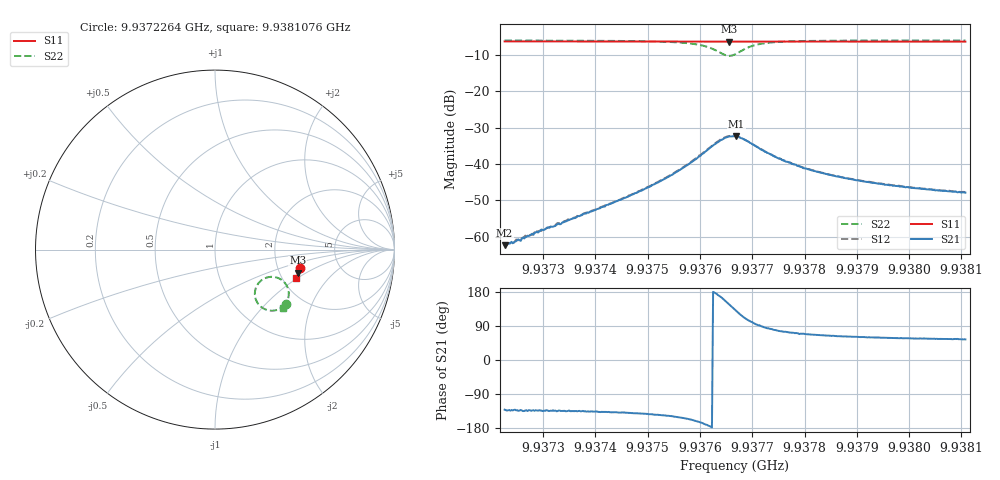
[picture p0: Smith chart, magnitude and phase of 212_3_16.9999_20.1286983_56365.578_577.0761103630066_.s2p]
#  HZ  S  RI  R  50.00
! Rohde & Schwarz Vector Network Analyzer
! Rohde-Schwarz,ZNB20-2Port,1311601062101988,3.16
! Created: UTC 3/20/2024, 11:01:37 PM
! freq[Hz]  re:S11  im:S11  re:S21  im:S21  re:S12  im:S12  re:S22  im:S22
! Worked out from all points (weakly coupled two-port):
!   401 points, 9.9372264 GHz to 9.9381076 GHz, reference 50 ohm
!   highest |S21| = -32.39 dB at 9.9376692 GHz (marker M1); lowest = -62.4 dB at 9.9372264 GHz (marker M2)
!   lowest |S11| = -6.4 dB at 9.937656 GHz (marker M3), VSWR 2.84, Z = 126 - j42.1 ohm
!   |S11| at or under -10 dB: nowhere
!   |S22| runs from -10.3 to -6.0 dB; largest |S21 - S12| = 0.0011
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9.93722645e9  0.473 -0.1018  -0.000498 -0.000573  -0.000519 -0.000529  0.3929 -0.3057
9.9372683e9  0.4721 -0.1048  -0.000679 -0.000736  -0.000694 -0.000723  0.3897 -0.3091
9.93737404e9  0.47 -0.1118  -0.00139 -0.00139  -0.00146 -0.00138  0.3781 -0.3186
9.93745335e9  0.4683 -0.1172  -0.00251 -0.0022  -0.00261 -0.00219  0.3644 -0.3277
9.93752164e9  0.4667 -0.1217  -0.00464 -0.00325  -0.00474 -0.00327  0.343 -0.3367
9.93757011e9  0.4651 -0.1253  -0.00811 -0.00403  -0.00834 -0.00396  0.3118 -0.3402
9.93760756e9  0.4638 -0.1277  -0.0138 -0.00284  -0.0143 -0.00279  0.2652 -0.3251
9.93762298e9  0.4628 -0.1285  -0.0176 -0.000653  -0.0178 -0.000161  0.2398 -0.3014
9.9376384e9  0.4621 -0.1291  -0.0205 0.00443  -0.0209 0.00519  0.2224 -0.2566
9.93765602e9  0.4615 -0.129  -0.0199 0.0132  -0.0197 0.0141  0.241 -0.1889
9.93766704e9  0.4615 -0.1291  -0.0161 0.0177  -0.0155 0.0187  0.2782 -0.1596
9.93766924e9  0.4617 -0.1291  -0.0153 0.0186  -0.0145 0.019  0.2868 -0.1563
9.93768025e9  0.4619 -0.1295  -0.0101 0.0201  -0.00948 0.0206  0.3289 -0.1522
9.93769347e9  0.4623 -0.1303  -0.00487 0.0195  -0.00442 0.0196  0.3671 -0.166
9.9377177e9  0.4625 -0.1323  0.00037 0.0157  0.000761 0.0159  0.4011 -0.2034
9.93775516e9  0.462 -0.1352  0.00284 0.0112  0.00313 0.0113  0.4112 -0.2444
9.93778159e9  0.4614 -0.1372  0.00323 0.00927  0.00343 0.00913  0.4101 -0.262
9.93781463e9  0.4606 -0.1395  0.00318 0.00748  0.00337 0.00752  0.4065 -0.2766
9.93787411e9  0.4593 -0.1435  0.00305 0.00574  0.00315 0.0057  0.3997 -0.2933
9.93796223e9  0.457 -0.1494  0.00265 0.00434  0.00282 0.00436  0.3909 -0.3078
9.93804154e9  0.4551 -0.1545  0.00251 0.0037  0.00252 0.00367  0.3845 -0.3167
9.93810763e9  0.4533 -0.1589  0.00235 0.00327  0.0024 0.0033  0.3795 -0.3227
